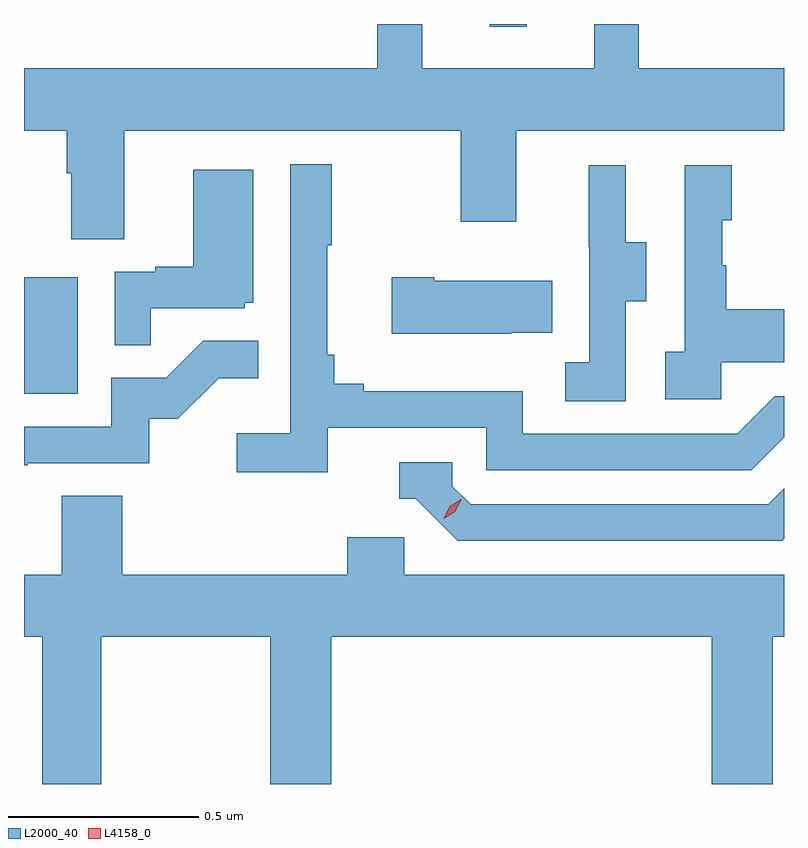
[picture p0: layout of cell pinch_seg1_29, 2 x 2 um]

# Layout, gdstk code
import gdstk
lib = gdstk.Library(unit=1e-6, precision=1e-09)
def R(c, l, rs):  # rectangles x0, y0, x1, y1
    for r in rs: c.add(gdstk.rectangle(r[:2], r[2:], *l))
def P(c, l, *ps):  # polygons
    for p in ps: c.add(gdstk.Polygon(p, *l))
L2000_40 = (2000, 40)
L4158_0 = (4158, 0)

pinch_seg1_29 = lib.new_cell('pinch_seg1_29')
R(pinch_seg1_29, L2000_40, [(1128.823,571.02,1128.964,571.327), (1130.049,571.986,1130.146,571.993)])
P(pinch_seg1_29, L2000_40, [(1129.087,571.712),(1129.972,571.712),(1129.972,571.473),(1130.119,571.473),(1130.119,571.712),(1130.823,571.712),(1130.823,571.876),(1130.441,571.876),(1130.441,571.993),(1130.324,571.993),(1130.324,571.876),(1129.871,571.876),(1129.871,571.993),(1129.753,571.993),(1129.753,571.876),(1128.823,571.876),(1128.823,571.712),(1128.935,571.712),(1128.935,571.6),(1128.947,571.6),(1128.947,571.426),(1129.087,571.426)],
  [(1129.622,570.93),(1130.04,570.93),(1130.04,570.819),(1130.737,570.819),(1130.823,570.905),(1130.823,571.014),(1130.799,571.014),(1130.7,570.915),(1130.136,570.915),(1130.136,571.027),(1129.717,571.027),(1129.717,571.046),(1129.64,571.046),(1129.64,571.123),(1129.621,571.123),(1129.621,571.411),(1129.633,571.411),(1129.633,571.624),(1129.524,571.624),(1129.524,570.916),(1129.383,570.916),(1129.383,570.814),(1129.622,570.814)],
  [(1130.406,571.264),(1130.461,571.264),(1130.461,571.419),(1130.407,571.419),(1130.407,571.621),(1130.309,571.621),(1130.309,571.407),(1130.31,571.407),(1130.31,571.103),(1130.247,571.103),(1130.247,571),(1130.406,571)],
  [(1130.658,571.103),(1130.823,571.103),(1130.823,571.243),(1130.671,571.243),(1130.671,571.358),(1130.661,571.358),(1130.661,571.476),(1130.686,571.476),(1130.686,571.621),(1130.562,571.621),(1130.562,571.13),(1130.511,571.13),(1130.511,571.005),(1130.658,571.005)],
  [(1129.157,571.245),(1129.404,571.245),(1129.404,571.26),(1129.426,571.26),(1129.426,571.609),(1129.268,571.609),(1129.268,571.354),(1129.169,571.354),(1129.169,571.341),(1129.062,571.341),(1129.062,571.147),(1129.157,571.147)],
  [(1130.105,571.181),(1130.213,571.181),(1130.213,571.318),(1129.903,571.318),(1129.903,571.326),(1129.791,571.326),(1129.791,571.178),(1130.105,571.178)],
  [(1128.833,570.837),(1129.152,570.837),(1129.152,570.954),(1129.228,570.954),(1129.335,571.061),(1129.439,571.061),(1129.439,571.16),(1129.295,571.16),(1129.197,571.062),(1129.053,571.062),(1129.053,570.933),(1128.823,570.933),(1128.823,570.832),(1128.833,570.832)],
  [(1130.823,570.638),(1130.823,570.771),(1130.781,570.729),(1129.998,570.729),(1129.95,570.777),(1129.95,570.84),(1129.811,570.84),(1129.811,570.744),(1129.854,570.744),(1129.965,570.633),(1130.818,570.633)],
  [(1129.026,570.38),(1129.471,570.38),(1129.471,569.993),(1129.631,569.993),(1129.631,570.38),(1130.633,570.38),(1130.633,569.993),(1130.793,569.993),(1130.793,570.38),(1130.823,570.38),(1130.823,570.544),(1129.824,570.544),(1129.824,570.642),(1129.673,570.642),(1129.673,570.544),(1129.082,570.544),(1129.082,570.752),(1128.922,570.752),(1128.922,570.544),(1128.823,570.544),(1128.823,570.38),(1128.871,570.38),(1128.871,569.993),(1129.026,569.993)])
P(pinch_seg1_29, L4158_0, [(1129.927,570.691),(1129.927,570.691),(1129.943,570.724),(1129.974,570.743),(1129.974,570.743),(1129.974,570.743),(1129.958,570.71),(1129.927,570.691)])

lib.write_gds('pinch_seg1_29.gds')
